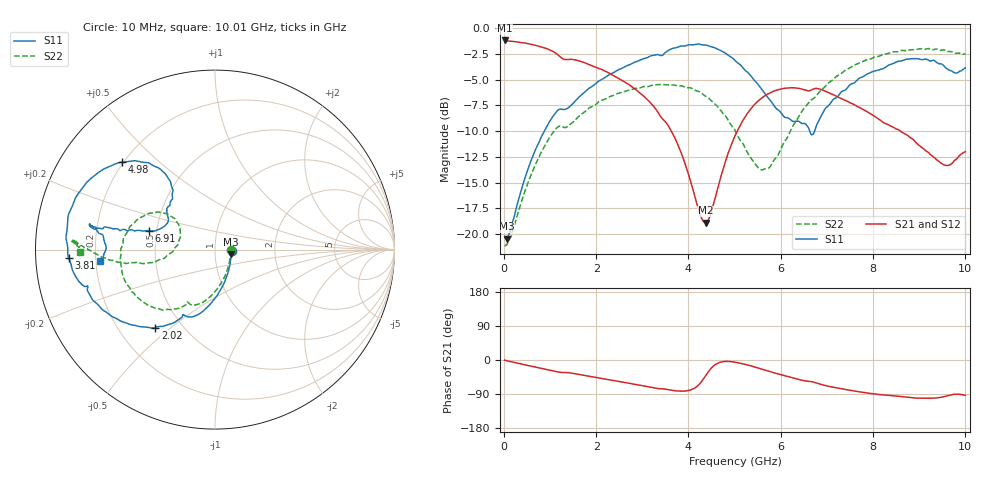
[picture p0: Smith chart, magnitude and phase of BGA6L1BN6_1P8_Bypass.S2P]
!Agilent Technologies,E5071C,MY46317100,A.11.08
!Date: Wed Jun 03 12:59:46 2015
!Data & Calibration Information:
!Freq	S11:SOLT2(ON)	S21:SOLT2(ON)	S12:SOLT2(ON)	S22:SOLT2(ON)
!PortZ  Port1:50+j0  Port2:50+j0
!Above PortZ is port z conversion or system Z0 setting when saving the data.
!When reading, reference impedance value at option line is always used.
# Hz S RI R 50
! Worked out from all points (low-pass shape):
!   1001 points, 10 MHz to 10.01 GHz, reference 50 ohm
!   highest |S21| = -1.17 dB at 10 MHz (marker M1); lowest = -18.9 dB at 4.37 GHz (marker M2)
!   |S21| within 3 dB of the highest: start of sweep to 2.195 GHz
!   lowest |S11| = -20.5 dB at 60 MHz (marker M3), VSWR 1.21, Z = 59.9 - j3.27 ohm
!   |S11| at or under -10 dB: start of sweep to 871.3 MHz; 6.633 GHz to 6.738 GHz (104.6 MHz wide, 1.56 % of centre)
!   |S22| runs from -21.2 to -2.0 dB; largest |S21 - S12| = 0.0085
!   S11 on the Smith chart (normalised r, x): 10 MHz: 1.21, -0.02; 2.02 GHz: 0.36, -0.44; 3.81 GHz: 0.10, -0.03; 4.98 GHz: 0.20, +0.38; 6.91 GHz: 0.45, +0.11; 10.01 GHz: 0.22, -0.05
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1e7  0.097 -0.00789  0.8736 -0.00744  0.8697 -0.00535  0.0871 -0.00442
6e7  0.0908 -0.027  0.8685 -0.0292  0.8673 -0.0274  0.0861 -0.0211
5e8  0.0454 -0.1965  0.8189 -0.2051  0.8192 -0.204  0.0451 -0.1672
8.6e8  -0.0329 -0.3108  0.7382 -0.3228  0.739 -0.3214  -0.0257 -0.2615
1.68e9  -0.2385 -0.4112  0.5314 -0.4384  0.5326 -0.4368  -0.1999 -0.3269
2.02e9  -0.3328 -0.4341  0.4414 -0.4676  0.4424 -0.4663  -0.2743 -0.3345
2.7e9  -0.5332 -0.3939  0.2584 -0.4676  0.2591 -0.4655  -0.4094 -0.2861
3.35e9  -0.7112 -0.2174  0.0964 -0.3738  0.0992 -0.3721  -0.5101 -0.1545
3.81e9  -0.8153 -0.0468  0.0358 -0.2559  0.0381 -0.2554  -0.5249 -0.0116
4.37e9  -0.7806 0.2805  0.0843 -0.0759  0.085 -0.0752  -0.4401 0.1597
4.98e9  -0.5163 0.4869  0.2883 -0.0256  0.2885 -0.0226  -0.2606 0.1974
5.01e9  -0.4995 0.4886  0.2987 -0.03  0.2986 -0.0267  -0.2549 0.1925
5.49e9  -0.3037 0.4471  0.4112 -0.1528  0.4124 -0.148  -0.1925 0.0909
5.71e9  -0.2541 0.3891  0.4204 -0.2274  0.4221 -0.2223  -0.2051 0.0348
6.25e9  -0.25 0.2507  0.3506 -0.3763  0.3551 -0.3717  -0.3246 -0.0634
6.68e9  -0.2643 0.1493  0.2717 -0.4238  0.2771 -0.4206  -0.4451 -0.0724
6.91e9  -0.3703 0.1061  0.2067 -0.4566  0.2117 -0.4533  -0.5005 -0.0762
7.52e9  -0.5236 0.1078  0.074 -0.4266  0.08 -0.425  -0.6458 -0.0335
8.35e9  -0.6527 0.119  -0.0191 -0.3377  -0.0134 -0.3372  -0.7564 0.031
8.85e9  -0.6986 0.1373  -0.0473 -0.2872  -0.043 -0.2859  -0.7859 0.0442
9.47e9  -0.6623 0.1169  -0.0324 -0.2195  -0.0271 -0.2205  -0.781 0.0391
1.001e10  -0.6388 -0.0637  -0.0138 -0.251  -0.00953 -0.2524  -0.7518 -0.0119
